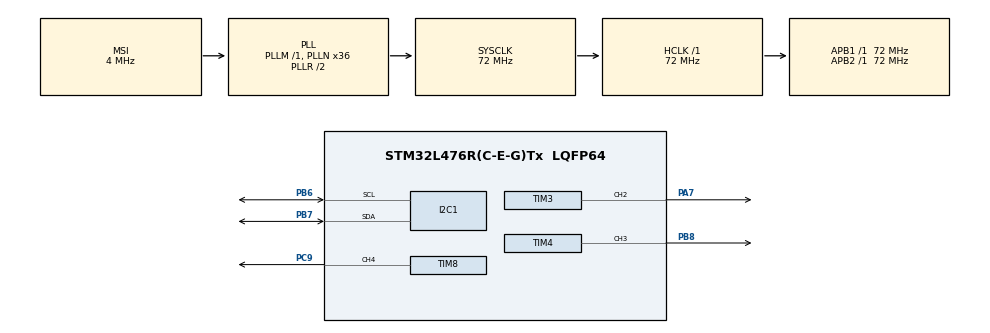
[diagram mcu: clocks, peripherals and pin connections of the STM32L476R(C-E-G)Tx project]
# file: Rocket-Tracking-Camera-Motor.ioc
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FREERTOS.Tasks01=defaultTask,24,128,StartDefaultTask,Default,NULL,Dynamic,NULL,NULL;motor_control,32,128,tsk_motor_control,As external,NULL,Dynamic,NULL,NULL
FREERTOS.configUSE_NEWLIB_REENTRANT=1
I2C1.Timing=0x10808DD3
Mcu.Family=STM32L4
Mcu.Name=STM32L476R(C-E-G)Tx
Mcu.Package=LQFP64
NVIC.PriorityGroup=NVIC_PRIORITYGROUP_4
NVIC.TIM1_UP_TIM16_IRQn=true\:15\:0\:false\:false\:true\:false\:false\:true\:true
NVIC.TimeBase=TIM1_UP_TIM16_IRQn
NVIC.TimeBaseIP=TIM1
PA7.Signal=S_TIM3_CH2
PB6.Mode=I2C
PB6.Signal=I2C1_SCL
PB7.Mode=I2C
PB7.Signal=I2C1_SDA
PB8.Signal=S_TIM4_CH3
PC9.Signal=S_TIM8_CH4
PH0-OSC_IN\ (PH0).Mode=HSE-External-Oscillator
PH0-OSC_IN\ (PH0).Signal=RCC_OSC_IN
PH1-OSC_OUT\ (PH1).Mode=HSE-External-Oscillator
PH1-OSC_OUT\ (PH1).Signal=RCC_OSC_OUT
ProjectManager.HeapSize=0x200
ProjectManager.StackSize=0x400
ProjectManager.TargetToolchain=STM32CubeIDE
RCC.AHBFreq_Value=72000000
RCC.APB1Freq_Value=72000000
RCC.APB1TimFreq_Value=72000000
RCC.APB2Freq_Value=72000000
RCC.APB2TimFreq_Value=72000000
RCC.CortexFreq_Value=72000000
RCC.HCLKFreq_Value=72000000
RCC.HSE_VALUE=8000000
RCC.HSI_VALUE=16000000
RCC.LSE_VALUE=32768
RCC.MSI_VALUE=4000000
RCC.PLLN=36
RCC.SYSCLKFreq_VALUE=72000000
RCC.SYSCLKSource=RCC_SYSCLKSOURCE_PLLCLK
RCC.VCOOutputFreq_Value=144000000
SH.S_TIM3_CH2.0=TIM3_CH2,PWM Generation2 CH2
SH.S_TIM4_CH3.0=TIM4_CH3,PWM Generation3 CH3
SH.S_TIM8_CH4.0=TIM8_CH4,PWM Generation4 CH4
TIM3.AutoReloadPreload=TIM_AUTORELOAD_PRELOAD_ENABLE
TIM3.Channel-PWM\ Generation2\ CH2=TIM_CHANNEL_2
TIM4.AutoReloadPreload=TIM_AUTORELOAD_PRELOAD_ENABLE
TIM4.Channel-PWM\ Generation3\ CH3=TIM_CHANNEL_3
TIM8.AutoReloadPreload=TIM_AUTORELOAD_PRELOAD_ENABLE
TIM8.Channel-PWM\ Generation4\ CH4=TIM_CHANNEL_4
VP_FREERTOS_VS_CMSIS_V2.Mode=CMSIS_V2
VP_SYS_VS_tim1.Mode=TIM1
VP_TIM3_VS_ClockSourceINT.Mode=Internal
VP_TIM4_VS_ClockSourceINT.Mode=Internal
VP_TIM8_VS_ClockSourceINT.Mode=Internal
board=custom

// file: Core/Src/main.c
/* USER CODE BEGIN Header */
/**
  ******************************************************************************
  * @file           : main.c
  * @brief          : Main program body
  ******************************************************************************
  * @attention
  *
  * Copyright (c) 2023 STMicroelectronics.
  * All rights reserved.
  *
  * This software is licensed under terms that can be found in the LICENSE file
  * in the root directory of this software component.
  * If no LICENSE file comes with this software, it is provided AS-IS.
  *
  ******************************************************************************
  */
/* USER CODE END Header */
#include "main.h"
#include "cmsis_os.h"

I2C_HandleTypeDef hi2c1;

TIM_HandleTypeDef htim3;
TIM_HandleTypeDef htim4;
TIM_HandleTypeDef htim8;

/* Definitions for defaultTask */
osThreadId_t defaultTaskHandle;
const osThreadAttr_t defaultTask_attributes = {
  .name = "defaultTask",
  .stack_size = 128 * 4,
  .priority = (osPriority_t) osPriorityNormal,
};
/* Definitions for motor_control */
osThreadId_t motor_controlHandle;
const osThreadAttr_t motor_control_attributes = {
  .name = "motor_control",
  .stack_size = 128 * 4,
  .priority = (osPriority_t) osPriorityAboveNormal,
};

void SystemClock_Config(void);
static void MX_GPIO_Init(void);
static void MX_TIM3_Init(void);
static void MX_I2C1_Init(void);
static void MX_TIM8_Init(void);
static void MX_TIM4_Init(void);
void StartDefaultTask(void *argument);
extern void tsk_motor_control(void *argument);

/* USER CODE BEGIN 0 */
void start_motor(enum Motor_t motor) {
	switch(motor){
		case Motor_x:
			HAL_TIM_PWM_Start(&htim3, TIM_CHANNEL_2);
			TIM2->PSC = 0;
			break;
		case Motor_y:
			HAL_TIM_PWM_Start(&htim4, TIM_CHANNEL_3);
			TIM4->PSC = 0;
			break;
		case Motor_zoom:
			HAL_TIM_PWM_Start(&htim8, TIM_CHANNEL_4);
			TIM3->PSC = 0;
			break;
	}
}

void stop_motor(enum Motor_t motor) {
	switch(motor){
		case Motor_x:
			HAL_TIM_PWM_Stop(&htim3, TIM_CHANNEL_2);
			break;
		case Motor_y:
			HAL_TIM_PWM_Stop(&htim4, TIM_CHANNEL_3);
			break;
		case Motor_zoom:
			HAL_TIM_PWM_Stop(&htim8, TIM_CHANNEL_4);
			break;
	}
}
/* USER CODE END 0 */

int main(void)
{

  /* MCU Configuration--------------------------------------------------------*/

  /* Reset of all peripherals, Initializes the Flash interface and the Systick. */
  HAL_Init();

  /* Configure the system clock */
  SystemClock_Config();

  /* Initialize all configured peripherals */
  MX_GPIO_Init();
  MX_TIM3_Init();
  MX_I2C1_Init();
  MX_TIM8_Init();
  MX_TIM4_Init();

  /* Init scheduler */
  osKernelInitialize();

  /* Create the thread(s) */
  /* creation of defaultTask */
  defaultTaskHandle = osThreadNew(StartDefaultTask, NULL, &defaultTask_attributes);

  /* creation of motor_control */
  motor_controlHandle = osThreadNew(tsk_motor_control, NULL, &motor_control_attributes);

  /* Start scheduler */
  osKernelStart();
  /* We should never get here as control is now taken by the scheduler */
  /* Infinite loop */
  while (1)
  {

  }
}

void SystemClock_Config(void)
{
  RCC_OscInitTypeDef RCC_OscInitStruct = {0};
  RCC_ClkInitTypeDef RCC_ClkInitStruct = {0};

  /** Configure the main internal regulator output voltage
  */
  if (HAL_PWREx_ControlVoltageScaling(PWR_REGULATOR_VOLTAGE_SCALE1) != HAL_OK)
  {
    Error_Handler();
  }

  /** Initializes the RCC Oscillators according to the specified parameters
  * in the RCC_OscInitTypeDef structure.
  */
  RCC_OscInitStruct.OscillatorType = RCC_OSCILLATORTYPE_MSI;
  RCC_OscInitStruct.MSIState = RCC_MSI_ON;
  RCC_OscInitStruct.MSICalibrationValue = 0;
  RCC_OscInitStruct.MSIClockRange = RCC_MSIRANGE_6;
  RCC_OscInitStruct.PLL.PLLState = RCC_PLL_ON;
  RCC_OscInitStruct.PLL.PLLSource = RCC_PLLSOURCE_MSI;
  RCC_OscInitStruct.PLL.PLLM = 1;
  RCC_OscInitStruct.PLL.PLLN = 36;
  RCC_OscInitStruct.PLL.PLLP = RCC_PLLP_DIV7;
  RCC_OscInitStruct.PLL.PLLQ = RCC_PLLQ_DIV2;
  RCC_OscInitStruct.PLL.PLLR = RCC_PLLR_DIV2;
  if (HAL_RCC_OscConfig(&RCC_OscInitStruct) != HAL_OK)
  {
    Error_Handler();
  }

  /** Initializes the CPU, AHB and APB buses clocks
  */
  RCC_ClkInitStruct.ClockType = RCC_CLOCKTYPE_HCLK|RCC_CLOCKTYPE_SYSCLK
                              |RCC_CLOCKTYPE_PCLK1|RCC_CLOCKTYPE_PCLK2;
  RCC_ClkInitStruct.SYSCLKSource = RCC_SYSCLKSOURCE_PLLCLK;
  RCC_ClkInitStruct.AHBCLKDivider = RCC_SYSCLK_DIV1;
  RCC_ClkInitStruct.APB1CLKDivider = RCC_HCLK_DIV1;
  RCC_ClkInitStruct.APB2CLKDivider = RCC_HCLK_DIV1;

  if (HAL_RCC_ClockConfig(&RCC_ClkInitStruct, FLASH_LATENCY_4) != HAL_OK)
  {
    Error_Handler();
  }
}

static void MX_I2C1_Init(void)
{

  hi2c1.Instance = I2C1;
  hi2c1.Init.Timing = 0x10808DD3;
  hi2c1.Init.OwnAddress1 = 0;
  hi2c1.Init.AddressingMode = I2C_ADDRESSINGMODE_7BIT;
  hi2c1.Init.DualAddressMode = I2C_DUALADDRESS_DISABLE;
  hi2c1.Init.OwnAddress2 = 0;
  hi2c1.Init.OwnAddress2Masks = I2C_OA2_NOMASK;
  hi2c1.Init.GeneralCallMode = I2C_GENERALCALL_DISABLE;
  hi2c1.Init.NoStretchMode = I2C_NOSTRETCH_DISABLE;
  if (HAL_I2C_Init(&hi2c1) != HAL_OK)
  {
    Error_Handler();
  }

  /** Configure Analogue filter
  */
  if (HAL_I2CEx_ConfigAnalogFilter(&hi2c1, I2C_ANALOGFILTER_ENABLE) != HAL_OK)
  {
    Error_Handler();
  }

  /** Configure Digital filter
  */
  if (HAL_I2CEx_ConfigDigitalFilter(&hi2c1, 0) != HAL_OK)
  {
    Error_Handler();
  }

}

static void MX_TIM3_Init(void)
{

  TIM_ClockConfigTypeDef sClockSourceConfig = {0};
  TIM_MasterConfigTypeDef sMasterConfig = {0};
  TIM_OC_InitTypeDef sConfigOC = {0};

  htim3.Instance = TIM3;
  htim3.Init.Prescaler = 0;
  htim3.Init.CounterMode = TIM_COUNTERMODE_UP;
  htim3.Init.Period = 65535;
  htim3.Init.ClockDivision = TIM_CLOCKDIVISION_DIV1;
  htim3.Init.AutoReloadPreload = TIM_AUTORELOAD_PRELOAD_ENABLE;
  if (HAL_TIM_Base_Init(&htim3) != HAL_OK)
  {
    Error_Handler();
  }
  sClockSourceConfig.ClockSource = TIM_CLOCKSOURCE_INTERNAL;
  if (HAL_TIM_ConfigClockSource(&htim3, &sClockSourceConfig) != HAL_OK)
  {
    Error_Handler();
  }
  if (HAL_TIM_PWM_Init(&htim3) != HAL_OK)
  {
    Error_Handler();
  }
  sMasterConfig.MasterOutputTrigger = TIM_TRGO_RESET;
  sMasterConfig.MasterSlaveMode = TIM_MASTERSLAVEMODE_DISABLE;
  if (HAL_TIMEx_MasterConfigSynchronization(&htim3, &sMasterConfig) != HAL_OK)
  {
    Error_Handler();
  }
  sConfigOC.OCMode = TIM_OCMODE_PWM1;
  sConfigOC.Pulse = 0;
  sConfigOC.OCPolarity = TIM_OCPOLARITY_HIGH;
  sConfigOC.OCFastMode = TIM_OCFAST_DISABLE;
  if (HAL_TIM_PWM_ConfigChannel(&htim3, &sConfigOC, TIM_CHANNEL_2) != HAL_OK)
  {
    Error_Handler();
  }
  HAL_TIM_MspPostInit(&htim3);

}

static void MX_TIM4_Init(void)
{

  TIM_ClockConfigTypeDef sClockSourceConfig = {0};
  TIM_MasterConfigTypeDef sMasterConfig = {0};
  TIM_OC_InitTypeDef sConfigOC = {0};

  htim4.Instance = TIM4;
  htim4.Init.Prescaler = 0;
  htim4.Init.CounterMode = TIM_COUNTERMODE_UP;
  htim4.Init.Period = 65535;
  htim4.Init.ClockDivision = TIM_CLOCKDIVISION_DIV1;
  htim4.Init.AutoReloadPreload = TIM_AUTORELOAD_PRELOAD_ENABLE;
  if (HAL_TIM_Base_Init(&htim4) != HAL_OK)
  {
    Error_Handler();
  }
  sClockSourceConfig.ClockSource = TIM_CLOCKSOURCE_INTERNAL;
  if (HAL_TIM_ConfigClockSource(&htim4, &sClockSourceConfig) != HAL_OK)
  {
    Error_Handler();
  }
  if (HAL_TIM_PWM_Init(&htim4) != HAL_OK)
  {
    Error_Handler();
  }
  sMasterConfig.MasterOutputTrigger = TIM_TRGO_RESET;
  sMasterConfig.MasterSlaveMode = TIM_MASTERSLAVEMODE_DISABLE;
  if (HAL_TIMEx_MasterConfigSynchronization(&htim4, &sMasterConfig) != HAL_OK)
  {
    Error_Handler();
  }
  sConfigOC.OCMode = TIM_OCMODE_PWM1;
  sConfigOC.Pulse = 0;
  sConfigOC.OCPolarity = TIM_OCPOLARITY_HIGH;
  sConfigOC.OCFastMode = TIM_OCFAST_DISABLE;
  if (HAL_TIM_PWM_ConfigChannel(&htim4, &sConfigOC, TIM_CHANNEL_3) != HAL_OK)
  {
    Error_Handler();
  }
  HAL_TIM_MspPostInit(&htim4);

}

static void MX_TIM8_Init(void)
{

  TIM_ClockConfigTypeDef sClockSourceConfig = {0};
  TIM_MasterConfigTypeDef sMasterConfig = {0};
  TIM_OC_InitTypeDef sConfigOC = {0};
  TIM_BreakDeadTimeConfigTypeDef sBreakDeadTimeConfig = {0};

  htim8.Instance = TIM8;
  htim8.Init.Prescaler = 0;
  htim8.Init.CounterMode = TIM_COUNTERMODE_UP;
  htim8.Init.Period = 65535;
  htim8.Init.ClockDivision = TIM_CLOCKDIVISION_DIV1;
  htim8.Init.RepetitionCounter = 0;
  htim8.Init.AutoReloadPreload = TIM_AUTORELOAD_PRELOAD_ENABLE;
  if (HAL_TIM_Base_Init(&htim8) != HAL_OK)
  {
    Error_Handler();
  }
  sClockSourceConfig.ClockSource = TIM_CLOCKSOURCE_INTERNAL;
  if (HAL_TIM_ConfigClockSource(&htim8, &sClockSourceConfig) != HAL_OK)
  {
    Error_Handler();
  }
  if (HAL_TIM_PWM_Init(&htim8) != HAL_OK)
  {
    Error_Handler();
  }
  sMasterConfig.MasterOutputTrigger = TIM_TRGO_RESET;
  sMasterConfig.MasterOutputTrigger2 = TIM_TRGO2_RESET;
  sMasterConfig.MasterSlaveMode = TIM_MASTERSLAVEMODE_DISABLE;
  if (HAL_TIMEx_MasterConfigSynchronization(&htim8, &sMasterConfig) != HAL_OK)
  {
    Error_Handler();
  }
  sConfigOC.OCMode = TIM_OCMODE_PWM1;
  sConfigOC.Pulse = 0;
  sConfigOC.OCPolarity = TIM_OCPOLARITY_HIGH;
  sConfigOC.OCFastMode = TIM_OCFAST_DISABLE;
  sConfigOC.OCIdleState = TIM_OCIDLESTATE_RESET;
  sConfigOC.OCNIdleState = TIM_OCNIDLESTATE_RESET;
  if (HAL_TIM_PWM_ConfigChannel(&htim8, &sConfigOC, TIM_CHANNEL_4) != HAL_OK)
  {
    Error_Handler();
  }
  sBreakDeadTimeConfig.OffStateRunMode = TIM_OSSR_DISABLE;
  sBreakDeadTimeConfig.OffStateIDLEMode = TIM_OSSI_DISABLE;
  sBreakDeadTimeConfig.LockLevel = TIM_LOCKLEVEL_OFF;
  sBreakDeadTimeConfig.DeadTime = 0;
  sBreakDeadTimeConfig.BreakState = TIM_BREAK_DISABLE;
  sBreakDeadTimeConfig.BreakPolarity = TIM_BREAKPOLARITY_HIGH;
  sBreakDeadTimeConfig.BreakFilter = 0;
  sBreakDeadTimeConfig.Break2State = TIM_BREAK2_DISABLE;
  sBreakDeadTimeConfig.Break2Polarity = TIM_BREAK2POLARITY_HIGH;
  sBreakDeadTimeConfig.Break2Filter = 0;
  sBreakDeadTimeConfig.AutomaticOutput = TIM_AUTOMATICOUTPUT_DISABLE;
  if (HAL_TIMEx_ConfigBreakDeadTime(&htim8, &sBreakDeadTimeConfig) != HAL_OK)
  {
    Error_Handler();
  }
  HAL_TIM_MspPostInit(&htim8);

}

static void MX_GPIO_Init(void)
{

  /* GPIO Ports Clock Enable */
  __HAL_RCC_GPIOH_CLK_ENABLE();
  __HAL_RCC_GPIOA_CLK_ENABLE();
  __HAL_RCC_GPIOC_CLK_ENABLE();
  __HAL_RCC_GPIOB_CLK_ENABLE();

}

void StartDefaultTask(void *argument)
{
  for(;;)
  {
    osDelay(1);
  }
}

void HAL_TIM_PeriodElapsedCallback(TIM_HandleTypeDef *htim)
{
  if (htim->Instance == TIM1) {
    HAL_IncTick();
  }
}

void Error_Handler(void)
{
  __disable_irq();
  while (1)
  {
  }
}
